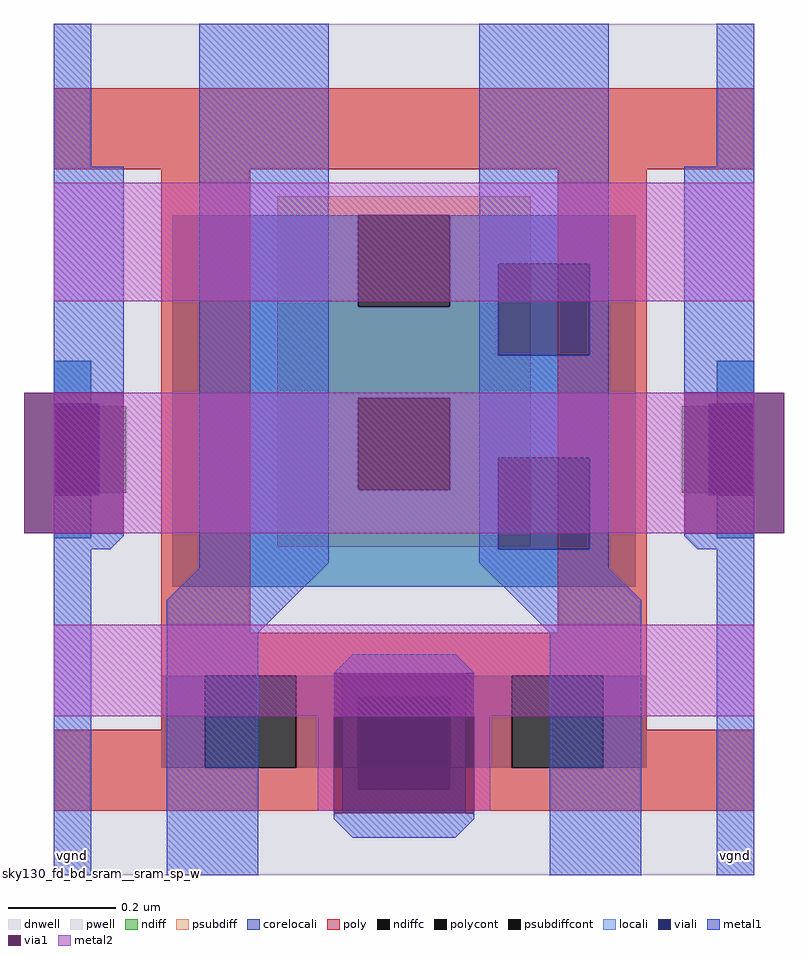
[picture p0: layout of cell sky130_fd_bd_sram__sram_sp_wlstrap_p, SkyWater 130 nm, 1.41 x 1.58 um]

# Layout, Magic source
magic
tech sky130A
magscale 1 2
<< ndiffc >>
rect 14 142 17 174
rect 243 142 246 174
<< locali >>
rect 0 174 14 175
rect 246 174 260 175
rect 0 141 14 142
rect 246 141 260 142
<< metal1 >>
rect 0 0 14 15
rect 246 0 260 15
use sky130_fd_bd_sram__sram_sp_wlstrap_p1m_siz  sky130_fd_bd_sram__sram_sp_wlstrap_p1m_siz_0
transform 1 0 0 0 1 0
box 0 0 1 1
use sky130_fd_bd_sram__sram_sp_wlstrap_p_met2  sky130_fd_bd_sram__sram_sp_wlstrap_p_met2_0
transform 1 0 0 0 1 0
box 0 59 260 257
use sky130_fd_bd_sram__sram_sp_wlstrap_p_ce  sky130_fd_bd_sram__sram_sp_wlstrap_p_ce_0
transform 1 0 0 0 1 0
box -11 0 271 316
<< labels >>
flabel metal1 s 0 0 14 15 0 FreeSans 40 90 0 0 vgnd
port 0 nsew
flabel metal1 s 246 0 260 15 0 FreeSans 40 90 0 0 vgnd
port 0 nsew
<< properties >>
string GDS_FILE sky130_fd_bd_sram__sram_sp_wlstrap_p.gds
string GDS_END 4758
string GDS_START 4278
<< end >>

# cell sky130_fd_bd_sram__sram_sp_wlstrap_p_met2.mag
magic
tech sky130A
magscale 1 2
<< metal2 >>
rect 0 213 260 257
rect 0 127 260 179
rect 0 59 260 93
<< properties >>
string GDS_FILE sky130_fd_bd_sram__sram_sp_wlstrap_p_met2.gds
string GDS_END 370
string GDS_START 174
<< end >>

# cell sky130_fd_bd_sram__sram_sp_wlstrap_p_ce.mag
magic
tech sky130A
magscale 1 2
<< dnwell >>
rect 0 0 260 316
<< pwell >>
rect 83 122 177 252
<< ndiff >>
rect 14 142 27 174
rect 233 142 246 174
<< ndiffc >>
rect 0 142 14 174
rect 246 142 260 174
<< psubdiff >>
rect 83 245 177 252
rect 83 211 113 245
rect 147 211 177 245
rect 83 177 177 211
rect 83 143 113 177
rect 147 143 177 177
rect 83 122 177 143
<< psubdiffcont >>
rect 113 211 147 245
rect 113 143 147 177
<< poly >>
rect 0 262 260 292
rect 40 90 73 262
rect 187 90 220 262
rect 40 74 220 90
rect 40 54 56 74
rect 0 40 56 54
rect 90 40 170 74
rect 204 54 220 74
rect 204 40 260 54
rect 0 24 260 40
<< polycont >>
rect 56 40 90 74
rect 170 40 204 74
<< corelocali >>
rect 44 211 113 245
rect 147 227 216 245
rect 147 211 165 227
rect 44 193 165 211
rect 199 193 216 227
rect 0 175 14 191
rect 44 177 216 193
rect 44 143 113 177
rect 147 155 216 177
rect 246 175 260 191
rect 147 143 165 155
rect 0 125 14 141
rect 44 121 165 143
rect 199 121 216 155
rect 246 125 260 141
rect 44 107 216 121
rect 40 40 56 74
rect 90 40 170 74
rect 204 40 220 74
<< viali >>
rect 165 193 199 227
rect 0 174 17 175
rect 0 142 14 174
rect 14 142 17 174
rect 0 141 17 142
rect 165 121 199 155
rect 243 174 260 175
rect 243 142 246 174
rect 246 142 260 174
rect 243 141 260 142
<< metal1 >>
rect 0 263 14 316
rect 0 179 26 263
rect 0 126 26 127
rect 0 121 21 126
tri 21 121 26 126 nw
rect 0 0 14 121
rect 54 116 102 316
rect 54 114 100 116
tri 100 114 102 116 nw
rect 158 227 206 316
rect 246 263 260 316
rect 158 193 165 227
rect 199 193 206 227
rect 158 155 206 193
rect 158 121 165 155
rect 199 121 206 155
rect 234 179 260 263
rect 234 126 260 127
tri 234 121 239 126 ne
rect 239 121 260 126
rect 158 116 206 121
tri 158 114 160 116 ne
rect 160 114 206 116
tri 42 102 54 114 se
rect 54 102 88 114
tri 88 102 100 114 nw
tri 160 102 172 114 ne
rect 172 102 206 114
tri 206 102 218 114 sw
rect 42 0 76 102
tri 76 90 88 102 nw
tri 172 90 184 102 ne
tri 104 75 111 82 se
rect 111 75 149 82
tri 149 75 156 82 sw
rect 104 21 156 23
tri 104 14 111 21 ne
rect 111 14 149 21
tri 149 14 156 21 nw
rect 184 0 218 102
rect 246 0 260 121
<< via1 >>
rect -11 175 26 179
rect -11 141 0 175
rect 0 141 17 175
rect 17 141 26 175
rect -11 127 26 141
rect 234 175 271 179
rect 234 141 243 175
rect 243 141 260 175
rect 260 141 271 175
rect 234 127 271 141
rect 104 23 156 75
<< metal2 >>
rect 98 75 162 88
rect 98 24 104 75
rect 156 24 162 75
use sky130_fd_bd_sram__sram_l1m1  sky130_fd_bd_sram__sram_l1m1_0
transform 0 -1 147 1 0 32
box -12 -6 46 40
<< properties >>
string GDS_FILE sky130_fd_bd_sram__sram_sp_wlstrap_p_ce.gds
string GDS_END 3610
string GDS_START 426
string path 0.200 0.285 1.100 0.285 
<< end >>

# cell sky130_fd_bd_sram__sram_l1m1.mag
magic
tech sky130A
<< viali >>
rect 0 0 17 17
<< metal1 >>
rect -6 17 23 20
rect -6 0 0 17
rect 17 0 23 17
rect -6 -3 23 0
<< properties >>
string GDS_FILE sky130_fd_bd_sram__sram_l1m1.gds
string GDS_END 342
string GDS_START 146
<< end >>
